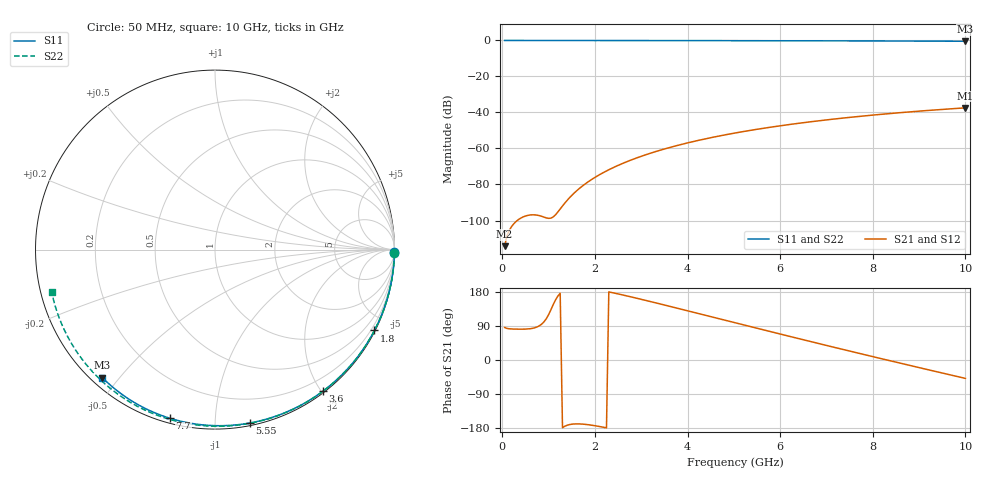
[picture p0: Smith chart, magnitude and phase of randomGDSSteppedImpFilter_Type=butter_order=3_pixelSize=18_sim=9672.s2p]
! freq	dB(S11)	phase(S11)	dB(S12)	phase(S12)
!  dB(S21)	phase(S21)	dB(S22)	phase(S22)
!S-par simulation data
#  GHz  S  DB  R 50
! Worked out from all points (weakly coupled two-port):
!   200 points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, 50 MHz to 10 GHz, reference 50 ohm
!   highest |S21| = -37.44 dB at 10 GHz (marker M1); lowest = -114.3 dB at 50 MHz (marker M2)
!   lowest |S11| = -0.4 dB at 10 GHz (marker M3), VSWR 39.12, Z = 1.54 - j22.6 ohm
!   |S11| at or under -10 dB: nowhere
!   |S22| runs from -0.5 to 0.0 dB; largest |S21 - S12| = 0
!   S11 on the Smith chart (normalised r, x): 50 MHz: open; 1.8 GHz: 0.04, -4.18; 3.6 GHz: 0.02, -2.02; 5.55 GHz: 0.02, -1.22; 7.7 GHz: 0.02, -0.77; 10 GHz: 0.03, -0.45
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0.05  -0.00 -0.8  -114.25 85.9  -114.25 85.9  -0.00 -1.0
0.45  -0.01 -6.8  -98.00 81.4  -98.00 81.4  -0.01 -8.7
0.85  -0.02 -12.8  -97.68 94.6  -97.68 94.6  -0.02 -16.3
1.3  -0.02 -19.5  -91.91 -178.5  -91.91 -178.5  -0.03 -24.8
1.75  -0.03 -26.2  -80.44 -169.3  -80.44 -169.3  -0.04 -33.2
1.8  -0.03 -26.9  -79.49 -169.9  -79.49 -169.9  -0.04 -34.2
1.95  -0.04 -29.1  -76.87 -172.4  -76.87 -172.4  -0.05 -36.9
2.1  -0.04 -31.3  -74.55 -175.5  -74.55 -175.5  -0.05 -39.7
2.3  -0.04 -34.2  -71.81 179.7  -71.81 179.7  -0.06 -43.3
2.5  -0.05 -37.1  -69.39 174.4  -69.39 174.4  -0.06 -47.0
2.9  -0.06 -42.8  -65.25 163.1  -65.25 163.1  -0.07 -54.1
3.4  -0.07 -49.8  -61.03 148.2  -61.03 148.2  -0.08 -62.9
3.6  -0.07 -52.6  -59.55 142.1  -59.55 142.1  -0.09 -66.3
4.3  -0.09 -62.2  -55.12 120.6  -55.12 120.6  -0.11 -78.2
5.05  -0.11 -72.1  -51.29 97.5  -51.29 97.5  -0.14 -90.4
5.55  -0.13 -78.6  -49.13 82.2  -49.13 82.2  -0.16 -98.4
6.1  -0.15 -85.5  -47.04 65.5  -47.04 65.5  -0.19 -106.9
6.7  -0.18 -92.9  -45.03 47.4  -45.03 47.4  -0.23 -116.0
7.7  -0.24 -104.9  -42.20 17.7  -42.20 17.7  -0.30 -131.0
8.35  -0.29 -112.5  -40.63 -1.3  -40.63 -1.3  -0.36 -140.6
9.2  -0.36 -122.3  -38.86 -25.8  -38.86 -25.8  -0.44 -153.2
10  -0.44 -131.3  -37.44 -48.6  -37.44 -48.6  -0.54 -165.3
